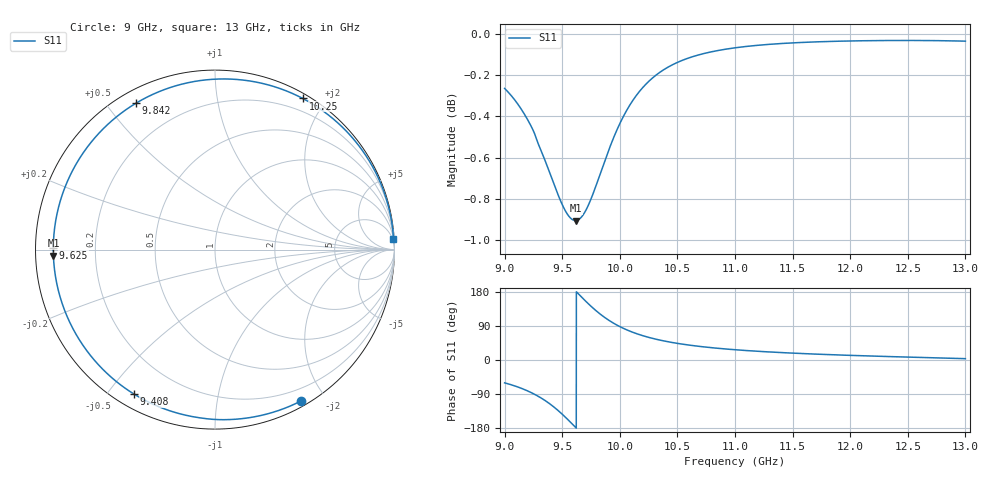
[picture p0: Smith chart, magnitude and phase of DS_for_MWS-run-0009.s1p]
! TOUCHSTONE file generated by CST DESIGN STUDIO
! Date and time: Tue Feb  4 13:32:39 2025
! Project name: C:\Work\MatlabApps\UnitCellOptimizationMatlab\CST\unitcell.cst
! Tree item: Tasks\Sweep1\SPara1\S-Parameters
! Header version: 2024
! Port assignment regex: !\s*Touchstone port\s*([0-9]+)\s*=\s*(CST MWS port|CST DES external port|CST DES block port)\s*(.+)\s* \(\"(.*)\"\)(\s*mode\s*([0-9]+))?.*
! Touchstone port assignment:
! Touchstone port 1 = CST DES external port 1 ("")
# GHz S MA R 50
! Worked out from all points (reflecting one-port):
!   4001 points, 9 GHz to 13 GHz, reference 50 ohm
!   lowest |S11| = -0.9 dB at 9.616 GHz (marker M1), VSWR 19.19, Z = 2.61 - j0.948 ohm
!   phase of S11 starts at -60 deg and turns -296 deg over the sweep
!   S11 on the Smith chart (normalised r, x): 9 GHz: 0.06, -1.72; 9.408 GHz: 0.05, -0.58; 9.625 GHz: 0.05, +0.01; 9.842 GHz: 0.05, +0.60; 10.25 GHz: 0.05, +1.74; 13 GHz: 2, +32
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9  0.9701 -60.3
9.055  0.9664 -65.2
9.127  0.9605 -72.6
9.19  0.9543 -80.3
9.251  0.9472 -89.1
9.336  0.934 -103.9
9.408  0.9228 -119.3
9.454  0.9155 -130.6
9.5  0.9091 -143.0
9.561  0.9029 -160.8
9.616  0.9009 -177.8
9.625  0.901 179.4
9.67  0.9029 165.4
9.717  0.9075 151.3
9.78  0.9165 133.7
9.842  0.9269 118.3
9.915  0.9389 102.8
10  0.9512 88.1
10.119  0.9641 72.4
10.249  0.9738 59.8
10.366  0.9797 51.4
10.5  0.9843 43.9
10.72  0.9891 34.9
11  0.9924 27.1
11.5  0.9951 18.1
12  0.9962 12.2
12.5  0.9965 7.7
13  0.9961 3.5
